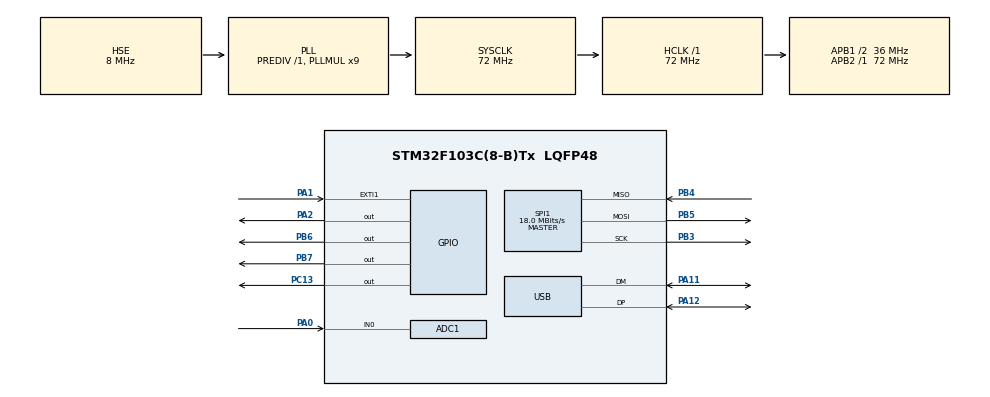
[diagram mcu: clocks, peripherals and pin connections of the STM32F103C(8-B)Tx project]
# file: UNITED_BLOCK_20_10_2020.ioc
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ADC1.Channel-0\#ChannelRegularConversion=ADC_CHANNEL_0
ADC1.ContinuousConvMode=ENABLE
ADC1.EnableAnalogWatchDog=false
ADC1.EnableInjectedConversion=DISABLE
ADC1.InjNumberOfConversion=1
ADC1.NbrOfConversion=1
ADC1.NbrOfConversionFlag=1
ADC1.Rank-0\#ChannelRegularConversion=1
ADC1.SamplingTime-0\#ChannelRegularConversion=ADC_SAMPLETIME_1CYCLE_5
ADC1.master=1
Dma.ADC1.0.Direction=DMA_PERIPH_TO_MEMORY
Dma.ADC1.0.Instance=DMA1_Channel1
Dma.ADC1.0.MemDataAlignment=DMA_MDATAALIGN_HALFWORD
Dma.ADC1.0.MemInc=DMA_MINC_ENABLE
Dma.ADC1.0.Mode=DMA_CIRCULAR
Dma.ADC1.0.PeriphDataAlignment=DMA_PDATAALIGN_HALFWORD
Dma.ADC1.0.PeriphInc=DMA_PINC_DISABLE
Dma.ADC1.0.Priority=DMA_PRIORITY_VERY_HIGH
Dma.Request0=ADC1
Mcu.Family=STM32F1
Mcu.Name=STM32F103C(8-B)Tx
Mcu.Package=LQFP48
NVIC.DMA1_Channel1_IRQn=true\:1\:0\:true\:false\:true\:false\:true
NVIC.EXTI1_IRQn=true\:0\:0\:true\:false\:true\:true\:true
NVIC.PriorityGroup=NVIC_PRIORITYGROUP_4
NVIC.USB_HP_CAN1_TX_IRQn=true\:1\:0\:true\:false\:true\:true\:true
NVIC.USB_LP_CAN1_RX0_IRQn=true\:1\:0\:true\:false\:true\:false\:true
PA0-WKUP.Signal=SharedAnalog_PA0
PA1.Signal=GPXTI1
PA11.Mode=Device
PA11.Signal=USB_DM
PA12.Mode=Device
PA12.Signal=USB_DP
PA13.Mode=Serial_Wire
PA13.Signal=SYS_JTMS-SWDIO
PA14.Mode=Serial_Wire
PA14.Signal=SYS_JTCK-SWCLK
PA2.Signal=GPIO_Output
PB3.Mode=Full_Duplex_Master
PB3.Signal=SPI1_SCK
PB4.Mode=Full_Duplex_Master
PB4.Signal=SPI1_MISO
PB5.Mode=Full_Duplex_Master
PB5.Signal=SPI1_MOSI
PB6.PinState=GPIO_PIN_SET
PB6.Signal=GPIO_Output
PB7.PinState=GPIO_PIN_SET
PB7.Signal=GPIO_Output
PC13-TAMPER-RTC.Signal=GPIO_Output
PC14-OSC32_IN.Mode=LSE-External-Oscillator
PC14-OSC32_IN.Signal=RCC_OSC32_IN
PC15-OSC32_OUT.Mode=LSE-External-Oscillator
PC15-OSC32_OUT.Signal=RCC_OSC32_OUT
PD0-OSC_IN.Mode=HSE-External-Oscillator
PD0-OSC_IN.Signal=RCC_OSC_IN
PD1-OSC_OUT.Mode=HSE-External-Oscillator
PD1-OSC_OUT.Signal=RCC_OSC_OUT
ProjectManager.HeapSize=0x200
ProjectManager.StackSize=0x400
ProjectManager.TargetToolchain=STM32CubeIDE
RCC.ADCPresc=RCC_ADCPCLK2_DIV6
RCC.AHBFreq_Value=72000000
RCC.APB1CLKDivider=RCC_HCLK_DIV2
RCC.APB1Freq_Value=36000000
RCC.APB1TimFreq_Value=72000000
RCC.APB2Freq_Value=72000000
RCC.APB2TimFreq_Value=72000000
RCC.HCLKFreq_Value=72000000
RCC.PLLMUL=RCC_PLL_MUL9
RCC.PLLSourceVirtual=RCC_PLLSOURCE_HSE
RCC.SYSCLKFreq_VALUE=72000000
RCC.SYSCLKSource=RCC_SYSCLKSOURCE_PLLCLK
RCC.USBFreq_Value=48000000
RCC.USBPrescaler=RCC_USBCLKSOURCE_PLL_DIV1_5
SH.SharedAnalog_PA0.0=GPIO_Analog
SH.SharedAnalog_PA0.1=ADC1_IN0,IN0
SPI1.BaudRatePrescaler=SPI_BAUDRATEPRESCALER_4
SPI1.CalculateBaudRate=18.0 MBits/s
SPI1.DataSize=SPI_DATASIZE_16BIT
SPI1.Direction=SPI_DIRECTION_2LINES
SPI1.Mode=SPI_MODE_MASTER
SPI1.VirtualType=VM_MASTER
USB_DEVICE.APP_RX_DATA_SIZE=64
USB_DEVICE.APP_TX_DATA_SIZE=64
USB_DEVICE.CLASS_NAME_FS=CDC
USB_DEVICE.VirtualMode=Cdc
USB_DEVICE.VirtualModeFS=Cdc_FS
VP_USB_DEVICE_VS_USB_DEVICE_CDC_FS.Mode=CDC_FS
board=custom

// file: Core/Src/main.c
/* USER CODE BEGIN Header */
/**
  ******************************************************************************
  * @file           : main.c
  * @brief          : Main program body
  ******************************************************************************
  * @attention
  *
  * <h2><center>&copy; Copyright (c) 2020 STMicroelectronics.
  * All rights reserved.</center></h2>
  *
  * This software component is licensed by ST under BSD 3-Clause license,
  * the "License"; You may not use this file except in compliance with the
  * License. You may obtain a copy of the License at:
  *                        opensource.org/licenses/BSD-3-Clause
  *
  ******************************************************************************
  */
/* USER CODE END Header */
#include "main.h"
#include "usb_device.h"

ADC_HandleTypeDef hadc1;
DMA_HandleTypeDef hdma_adc1;

SPI_HandleTypeDef hspi1;

/* USER CODE BEGIN PV */

#define Gain				1
#define Trigger_Level_Set	2
#define Start_Stream		3
#define Start_Trace 		4
#define Start_Trigger 		5
#define Stop 				6
#define Request				7
#define Acknowledge			8

char RX_Str[64];

volatile uint8_t Mode = 0;
volatile uint16_t Value = 0;

volatile uint16_t DMA_Triggered_Part_Flag = 0;
volatile uint16_t DMA_Triggered_I_Part_Cplt = 0;

volatile uint16_t DMA_Stream_Part_Flag = 0;
volatile uint16_t DMA_Tracer_Part_Flag = 0;

volatile uint16_t Tracer_Lock = 0;

volatile uint16_t Trace_Triggered = 0;

volatile uint16_t Trigger_Cplt = 0;
volatile uint16_t Tracer_Cplt = 0;
volatile uint16_t Stream_Cplt = 0;

#define ADC_DMA_Len 1000
#define ADC_DMA_Half_Len 500
uint16_t ADC_DMA_Buf[ADC_DMA_Len];

#define ADC_CDC_Transmit_Len  5000
uint16_t ADC_CDC_Transmit_Buf[ADC_CDC_Transmit_Len];

uint16_t Trigger_Level = 1000;

uint16_t CDC_RX_Len = 0;

/* USER CODE END PV */

void SystemClock_Config(void);
static void MX_GPIO_Init(void);
static void MX_DMA_Init(void);
static void MX_ADC1_Init(void);
static void MX_SPI1_Init(void);

/* USER CODE BEGIN 0 */
void Ok_Mess()
{
	char mess[] = "Done!\n";
	CDC_Transmit_FS(&mess, strlen(mess));
}

void Start_Symbol()
{
	uint16_t mess = 0xFFFF;
	while(CDC_Transmit_FS(&mess, sizeof(mess)) == USBD_BUSY);
}

void Stop_Symbol()
{
	uint16_t mess = 0xFFFE;
	while(CDC_Transmit_FS(&mess, sizeof(mess)) == USBD_BUSY);
}

void ADC_Trigger_Mod()
{
	DMA_Triggered_Part_Flag = 1;
	//DMA_Triggered_I_Part_Cplt = 0;
		if((HAL_ADC_GetValue(&hadc1)>Trigger_Level)&&(DMA_Triggered_I_Part_Cplt == 1))
		{
			DMA_Triggered_Part_Flag = 2;
			while(DMA_Triggered_Part_Flag != 0){}
			HAL_GPIO_WritePin(GPIOA, GPIO_PIN_2, GPIO_PIN_SET);
			HAL_Delay(1);
			Start_Symbol();
			while(CDC_Transmit_FS((uint8_t*)&ADC_CDC_Transmit_Buf, sizeof(uint16_t)*ADC_DMA_Half_Len*3) == USBD_BUSY);
			//DMA_Triggered_Part_Flag = 0;
			DMA_Triggered_I_Part_Cplt = 0;
			Stop_Symbol();
			HAL_GPIO_WritePin(GPIOA, GPIO_PIN_2, GPIO_PIN_RESET);
		}
}

void ADC_Stream_Mod()
{
	DMA_Stream_Part_Flag = 1;
	while(DMA_Stream_Part_Flag != 0){}
	Start_Symbol();
	while(CDC_Transmit_FS((uint8_t*)&ADC_CDC_Transmit_Buf, sizeof(uint16_t)*ADC_CDC_Transmit_Len) == USBD_BUSY);
	Stop_Symbol();
	DMA_Stream_Part_Flag = 0;
}

void ADC_Trace_Mod()
{
	if(DMA_Tracer_Part_Flag == 1)
	{
		Tracer_Lock = 1;
		HAL_ADC_Stop_DMA(&hadc1);
		HAL_ADC_Start_DMA(&hadc1, (uint32_t*)&ADC_DMA_Buf, sizeof(uint16_t)*ADC_DMA_Half_Len);

		//Trace_Triggered = 1;
		while(DMA_Tracer_Part_Flag != 0){}

		Start_Symbol();
		while(CDC_Transmit_FS((uint8_t*)&ADC_CDC_Transmit_Buf, sizeof(uint16_t)*ADC_CDC_Transmit_Len) == USBD_BUSY);
		Stop_Symbol();

		Tracer_Lock = 0;

		//HAL_ADC_Start_DMA(&hadc1, (uint32_t*)&ADC_DMA_Buf, sizeof(uint16_t)*ADC_DMA_Half_Len);
	}

}

void DAC_Write(uint16_t val)
{
  uint16_t dac_data = 0x7000 | (val&0x0FFF);
  uint8_t data[2];
  memcpy(&data, &dac_data, sizeof(data));
  HAL_GPIO_WritePin(GPIOB, GPIO_PIN_7, GPIO_PIN_RESET);
  HAL_SPI_Transmit(&hspi1, data, sizeof(data), 0);
  HAL_GPIO_WritePin(GPIOB, GPIO_PIN_7, GPIO_PIN_SET);
}

/* USER CODE END 0 */

int main(void)
{

  /* MCU Configuration--------------------------------------------------------*/

  /* Reset of all peripherals, Initializes the Flash interface and the Systick. */
  HAL_Init();

  /* Configure the system clock */
  SystemClock_Config();

  /* Initialize all configured peripherals */
  MX_GPIO_Init();
  MX_DMA_Init();
  MX_ADC1_Init();
  MX_SPI1_Init();
  MX_USB_DEVICE_Init();
  /* USER CODE BEGIN 2 */
  RX_Str[0] = 3;

  HAL_ADCEx_Calibration_Start(&hadc1);
  HAL_ADC_Start(&hadc1);
  HAL_ADC_Start_DMA(&hadc1, (uint32_t*)&ADC_DMA_Buf, sizeof(uint16_t)*ADC_DMA_Half_Len);
  //DAC_Write(1800);

  /* USER CODE END 2 */

  /* Infinite loop */
  /* USER CODE BEGIN WHILE */
  while (1)
  {
	switch(Mode)
	{
		case Gain:
			DAC_Write(Value);
			break;

		case Trigger_Level_Set:
			Trigger_Level = Value;
			break;

		case Start_Stream:
			ADC_Stream_Mod();
			break;

		case Start_Trace:
			ADC_Trace_Mod();
			break;

		case Start_Trigger:
			ADC_Trigger_Mod();
			break;

		case Stop:
			break;
	}

    /* USER CODE END WHILE */

  }
}

void SystemClock_Config(void)
{
  RCC_OscInitTypeDef RCC_OscInitStruct = {0};
  RCC_ClkInitTypeDef RCC_ClkInitStruct = {0};
  RCC_PeriphCLKInitTypeDef PeriphClkInit = {0};

  /** Initializes the RCC Oscillators according to the specified parameters
  * in the RCC_OscInitTypeDef structure.
  */
  RCC_OscInitStruct.OscillatorType = RCC_OSCILLATORTYPE_HSE;
  RCC_OscInitStruct.HSEState = RCC_HSE_ON;
  RCC_OscInitStruct.HSEPredivValue = RCC_HSE_PREDIV_DIV1;
  RCC_OscInitStruct.HSIState = RCC_HSI_ON;
  RCC_OscInitStruct.PLL.PLLState = RCC_PLL_ON;
  RCC_OscInitStruct.PLL.PLLSource = RCC_PLLSOURCE_HSE;
  RCC_OscInitStruct.PLL.PLLMUL = RCC_PLL_MUL9;
  if (HAL_RCC_OscConfig(&RCC_OscInitStruct) != HAL_OK)
  {
    Error_Handler();
  }
  /** Initializes the CPU, AHB and APB buses clocks
  */
  RCC_ClkInitStruct.ClockType = RCC_CLOCKTYPE_HCLK|RCC_CLOCKTYPE_SYSCLK
                              |RCC_CLOCKTYPE_PCLK1|RCC_CLOCKTYPE_PCLK2;
  RCC_ClkInitStruct.SYSCLKSource = RCC_SYSCLKSOURCE_PLLCLK;
  RCC_ClkInitStruct.AHBCLKDivider = RCC_SYSCLK_DIV1;
  RCC_ClkInitStruct.APB1CLKDivider = RCC_HCLK_DIV2;
  RCC_ClkInitStruct.APB2CLKDivider = RCC_HCLK_DIV1;

  if (HAL_RCC_ClockConfig(&RCC_ClkInitStruct, FLASH_LATENCY_2) != HAL_OK)
  {
    Error_Handler();
  }
  PeriphClkInit.PeriphClockSelection = RCC_PERIPHCLK_ADC|RCC_PERIPHCLK_USB;
  PeriphClkInit.AdcClockSelection = RCC_ADCPCLK2_DIV6;
  PeriphClkInit.UsbClockSelection = RCC_USBCLKSOURCE_PLL_DIV1_5;
  if (HAL_RCCEx_PeriphCLKConfig(&PeriphClkInit) != HAL_OK)
  {
    Error_Handler();
  }
}

static void MX_ADC1_Init(void)
{

  ADC_ChannelConfTypeDef sConfig = {0};

  /** Common config
  */
  hadc1.Instance = ADC1;
  hadc1.Init.ScanConvMode = ADC_SCAN_DISABLE;
  hadc1.Init.ContinuousConvMode = ENABLE;
  hadc1.Init.DiscontinuousConvMode = DISABLE;
  hadc1.Init.ExternalTrigConv = ADC_SOFTWARE_START;
  hadc1.Init.DataAlign = ADC_DATAALIGN_RIGHT;
  hadc1.Init.NbrOfConversion = 1;
  if (HAL_ADC_Init(&hadc1) != HAL_OK)
  {
    Error_Handler();
  }
  /** Configure Regular Channel
  */
  sConfig.Channel = ADC_CHANNEL_0;
  sConfig.Rank = ADC_REGULAR_RANK_1;
  sConfig.SamplingTime = ADC_SAMPLETIME_1CYCLE_5;
  if (HAL_ADC_ConfigChannel(&hadc1, &sConfig) != HAL_OK)
  {
    Error_Handler();
  }

}

static void MX_SPI1_Init(void)
{

  /* SPI1 parameter configuration*/
  hspi1.Instance = SPI1;
  hspi1.Init.Mode = SPI_MODE_MASTER;
  hspi1.Init.Direction = SPI_DIRECTION_2LINES;
  hspi1.Init.DataSize = SPI_DATASIZE_16BIT;
  hspi1.Init.CLKPolarity = SPI_POLARITY_LOW;
  hspi1.Init.CLKPhase = SPI_PHASE_1EDGE;
  hspi1.Init.NSS = SPI_NSS_SOFT;
  hspi1.Init.BaudRatePrescaler = SPI_BAUDRATEPRESCALER_4;
  hspi1.Init.FirstBit = SPI_FIRSTBIT_MSB;
  hspi1.Init.TIMode = SPI_TIMODE_DISABLE;
  hspi1.Init.CRCCalculation = SPI_CRCCALCULATION_DISABLE;
  hspi1.Init.CRCPolynomial = 10;
  if (HAL_SPI_Init(&hspi1) != HAL_OK)
  {
    Error_Handler();
  }

}

static void MX_DMA_Init(void)
{

  /* DMA controller clock enable */
  __HAL_RCC_DMA1_CLK_ENABLE();

  /* DMA interrupt init */
  /* DMA1_Channel1_IRQn interrupt configuration */
  HAL_NVIC_SetPriority(DMA1_Channel1_IRQn, 1, 0);
  HAL_NVIC_EnableIRQ(DMA1_Channel1_IRQn);

}

static void MX_GPIO_Init(void)
{
  GPIO_InitTypeDef GPIO_InitStruct = {0};

  /* GPIO Ports Clock Enable */
  __HAL_RCC_GPIOC_CLK_ENABLE();
  __HAL_RCC_GPIOD_CLK_ENABLE();
  __HAL_RCC_GPIOA_CLK_ENABLE();
  __HAL_RCC_GPIOB_CLK_ENABLE();

  /*Configure GPIO pin Output Level */
  HAL_GPIO_WritePin(GPIOC, GPIO_PIN_13, GPIO_PIN_RESET);

  /*Configure GPIO pin Output Level */
  HAL_GPIO_WritePin(GPIOA, GPIO_PIN_2, GPIO_PIN_RESET);

  /*Configure GPIO pin Output Level */
  HAL_GPIO_WritePin(GPIOB, GPIO_PIN_6|GPIO_PIN_7, GPIO_PIN_SET);

  /*Configure GPIO pin : PC13 */
  GPIO_InitStruct.Pin = GPIO_PIN_13;
  GPIO_InitStruct.Mode = GPIO_MODE_OUTPUT_PP;
  GPIO_InitStruct.Pull = GPIO_NOPULL;
  GPIO_InitStruct.Speed = GPIO_SPEED_FREQ_LOW;
  HAL_GPIO_Init(GPIOC, &GPIO_InitStruct);

  /*Configure GPIO pin : PA1 */
  GPIO_InitStruct.Pin = GPIO_PIN_1;
  GPIO_InitStruct.Mode = GPIO_MODE_IT_RISING;
  GPIO_InitStruct.Pull = GPIO_NOPULL;
  HAL_GPIO_Init(GPIOA, &GPIO_InitStruct);

  /*Configure GPIO pin : PA2 */
  GPIO_InitStruct.Pin = GPIO_PIN_2;
  GPIO_InitStruct.Mode = GPIO_MODE_OUTPUT_PP;
  GPIO_InitStruct.Pull = GPIO_NOPULL;
  GPIO_InitStruct.Speed = GPIO_SPEED_FREQ_LOW;
  HAL_GPIO_Init(GPIOA, &GPIO_InitStruct);

  /*Configure GPIO pins : PB6 PB7 */
  GPIO_InitStruct.Pin = GPIO_PIN_6|GPIO_PIN_7;
  GPIO_InitStruct.Mode = GPIO_MODE_OUTPUT_PP;
  GPIO_InitStruct.Pull = GPIO_NOPULL;
  GPIO_InitStruct.Speed = GPIO_SPEED_FREQ_LOW;
  HAL_GPIO_Init(GPIOB, &GPIO_InitStruct);

  /* EXTI interrupt init*/
  HAL_NVIC_SetPriority(EXTI1_IRQn, 0, 0);
  HAL_NVIC_EnableIRQ(EXTI1_IRQn);

}

/* USER CODE BEGIN 4 */
void CDC_ReciveCallBack(uint8_t *Buf, uint32_t *Len)
{
	//CDC_Transmit_FS(Buf, Len);// debug
	for(int i = 0; i < 64; i++)
		RX_Str[i] = 0;

	memcpy(RX_Str, Buf, Len);
	CDC_RX_Len = Len;
	Mode = RX_Str[0];

	Value = atoi(&RX_Str[1]);

	//DAC_Write(atoi(RX_Str));
	//RX_Str[CDC_RX_Len] = '\n';
}

void HAL_GPIO_EXTI_Callback(uint16_t GPIO_Pin)
{
	if((GPIO_Pin == GPIO_PIN_1)&&(Tracer_Lock == 0))
	{
		DMA_Tracer_Part_Flag = 1;
	}
	else
	{
		__NOP();
	}
}

 void HAL_ADC_ConvCpltCallback(ADC_HandleTypeDef* hadc)
{
	 if(DMA_Triggered_Part_Flag == 1)
	 {
		 memcpy(&ADC_CDC_Transmit_Buf[0], &ADC_DMA_Buf[ADC_DMA_Half_Len], sizeof(uint16_t)*ADC_DMA_Half_Len);
		 DMA_Triggered_I_Part_Cplt = 1;
	 }

	if(DMA_Triggered_Part_Flag > 1)
	{
		memcpy(&ADC_CDC_Transmit_Buf[ADC_DMA_Half_Len*(DMA_Triggered_Part_Flag-1)], &ADC_DMA_Buf[ADC_DMA_Half_Len], sizeof(uint16_t)*ADC_DMA_Half_Len);
		if((DMA_Triggered_Part_Flag < 3))
		{DMA_Triggered_Part_Flag++;}
		else
		{DMA_Triggered_Part_Flag = 0;}
	}

	if(DMA_Stream_Part_Flag > 0)
	{
		memcpy(&ADC_CDC_Transmit_Buf[ADC_DMA_Half_Len*(DMA_Stream_Part_Flag-1)], &ADC_DMA_Buf[ADC_DMA_Half_Len], sizeof(uint16_t)*ADC_DMA_Half_Len);
		if(DMA_Stream_Part_Flag < (int)(ADC_CDC_Transmit_Len/ADC_DMA_Half_Len))
		{DMA_Stream_Part_Flag++;}
		else
		{DMA_Stream_Part_Flag = 0;}
	}

	if(DMA_Tracer_Part_Flag > 0)
		{
			memcpy(&ADC_CDC_Transmit_Buf[ADC_DMA_Half_Len*(DMA_Tracer_Part_Flag-1)], &ADC_DMA_Buf[ADC_DMA_Half_Len], sizeof(uint16_t)*ADC_DMA_Half_Len);
			if(DMA_Tracer_Part_Flag < (int)(ADC_CDC_Transmit_Len/ADC_DMA_Half_Len))
			{DMA_Tracer_Part_Flag++;}
			else
			{DMA_Tracer_Part_Flag = 0;}
		}

}

void HAL_ADC_ConvHalfCpltCallback(ADC_HandleTypeDef* hadc)
{
	if(DMA_Triggered_Part_Flag == 1)
	{
		memcpy(&ADC_CDC_Transmit_Buf[0], &ADC_DMA_Buf[0], sizeof(uint16_t)*ADC_DMA_Half_Len);
		DMA_Triggered_I_Part_Cplt = 1;
	}

	if(DMA_Triggered_Part_Flag > 1)
	{
		memcpy(&ADC_CDC_Transmit_Buf[ADC_DMA_Half_Len*(DMA_Triggered_Part_Flag-1)], &ADC_DMA_Buf[0], sizeof(uint16_t)*ADC_DMA_Half_Len);
		if((DMA_Triggered_Part_Flag < 3))
		{DMA_Triggered_Part_Flag++;}
		else
		{DMA_Triggered_Part_Flag = 0;}
	}

	if(DMA_Stream_Part_Flag > 0)
	{
		memcpy(&ADC_CDC_Transmit_Buf[ADC_DMA_Half_Len*(DMA_Stream_Part_Flag-1)], &ADC_DMA_Buf[0], sizeof(uint16_t)*ADC_DMA_Half_Len);
		if(DMA_Stream_Part_Flag < (int)(ADC_CDC_Transmit_Len/ADC_DMA_Half_Len))
		{DMA_Stream_Part_Flag++;}
		else
		{DMA_Stream_Part_Flag = 0;}
	}

	if(DMA_Tracer_Part_Flag > 0)
	{
		memcpy(&ADC_CDC_Transmit_Buf[ADC_DMA_Half_Len*(DMA_Tracer_Part_Flag-1)], &ADC_DMA_Buf[0], sizeof(uint16_t)*ADC_DMA_Half_Len);
		if(DMA_Tracer_Part_Flag < (int)(ADC_CDC_Transmit_Len/ADC_DMA_Half_Len))
		{DMA_Tracer_Part_Flag++;}
		else
		{DMA_Tracer_Part_Flag = 0;}
	}
}

/* USER CODE END 4 */

void Error_Handler(void)
{
}

/************************ (C) COPYRIGHT STMicroelectronics *****END OF FILE****/
